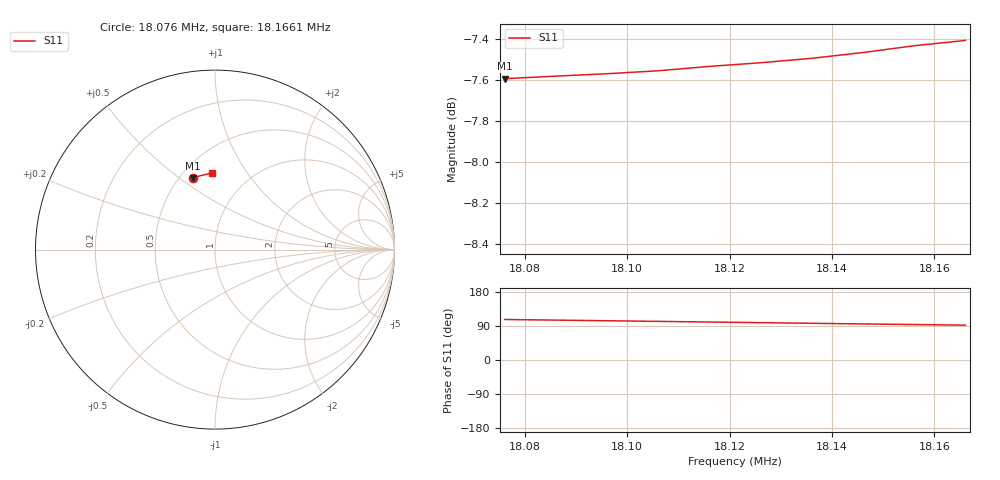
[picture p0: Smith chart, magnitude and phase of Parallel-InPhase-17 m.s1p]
# HZ S RI R 50
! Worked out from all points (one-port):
!   10 points, 18.076 MHz to 18.1661 MHz, reference 50 ohm
!   lowest |S11| = -7.6 dB at 18.076 MHz (marker M1), VSWR 2.43, Z = 29.1 + j28.2 ohm
!   |S11| at or under -10 dB: nowhere
1.807603e7  -0.1214 0.3991
1.808603e7  -0.11 0.403
1.809604e7  -0.0983 0.4066
1.810604e7  -0.0864 0.41
1.811604e7  -0.0747 0.4133
1.812605e7  -0.0626 0.4162
1.813605e7  -0.0504 0.4189
1.814606e7  -0.0381 0.4216
1.815606e7  -0.0269 0.4241
1.816606e7  -0.0142 0.4259
